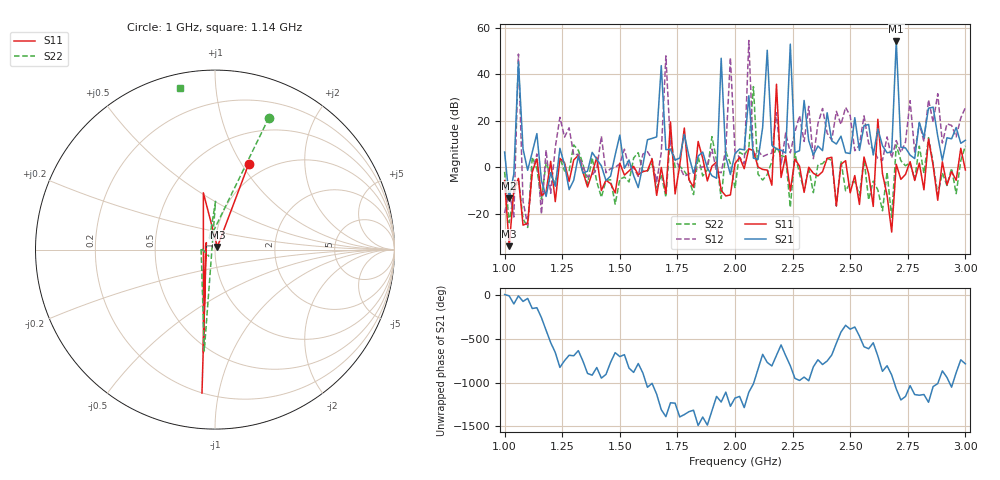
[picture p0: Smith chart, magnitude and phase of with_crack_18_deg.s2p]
# MHz S MA R 50
!  freq  S11  S21  S12  S22
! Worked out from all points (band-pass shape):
!   101 points, 1 GHz to 3 GHz, reference 50 ohm
!   highest |S21| = 54.43 dB at 2.7 GHz (marker M1); lowest = -13.4 dB at 1.02 GHz (marker M2)
!   |S21| within 3 dB of the highest: 2.239322 GHz to 2.24068 GHz (1.358 MHz wide, 0.0606 % of centre); 2.698748 GHz to 2.701309 GHz (2.562 MHz wide, 0.0949 % of centre)
!   lowest |S11| = -34.0 dB at 1.02 GHz (marker M3), VSWR 1.04, Z = 51.3 + j1.53 ohm
!   |S11| at or under -10 dB: 1.065 GHz to 1.113 GHz (47.58 MHz wide, 4.37 % of centre); 1.157 GHz to 1.181 GHz (23.88 MHz wide, 2.04 % of centre); 1.94 GHz to 1.983 GHz (42.89 MHz wide, 2.19 % of centre) (the widest 3 of 18)
!   |S22| runs from -26.0 to 34.7 dB; largest |S21 - S12| = 5.3e+02
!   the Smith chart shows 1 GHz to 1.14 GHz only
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1000  0.5147 68.5  2.121 6.4  0.1036 -174.3  0.794 67.8
1020  0.01993 48.3  0.2146 -8.7  0.3113 0.7  0.0639 120.0
1060  0.5753 -96.4  188.1 -8.9  273.6 -4.5  0.5684 -96.0
1080  0.05653 156.2  2.473 -72.3  0.1858 -99.9  0.07812 173.3
1340  0.7868 118.3  0.7444 -34.0  1.039 -107.3  1.171 148.0
1680  0.9837 91.2  153.9 130.6  2.058 -71.1  0.6939 110.7
1700  0.2706 89.8  2.387 51.2  249.6 60.5  0.2264 113.2
1720  9.441 16.9  2.433 -150.2  2.834 132.4  5.047 43.1
2000  1.197 74.6  1.969 -96.2  2.109 -117.4  0.3525 115.9
2040  0.9303 117.5  2.364 154.5  1.177 77.3  1.811 89.9
2060  2.5 -61.3  34.6 -28.8  536.6 -64.1  2.597 -61.0
2080  2.265 -106.6  1.568 66.0  1.614 58.7  54.45 125.6
2140  0.8681 -70.6  330.3 -49.5  1.878 46.6  0.6955 -52.9
2160  0.4095 152.3  2.977 -89.5  2.001 167.8  1.337 29.1
2220  1.769 113.8  2.021 27.7  5.464 94.0  1.658 -133.9
2240  0.3072 -123.0  447.7 -86.2  2.039 72.1  0.1362 -104.3
2260  1.492 154.0  2.056 129.2  5.747 -52.3  1.998 -152.6
2340  0.7411 104.2  1.833 -100.3  1.525 -149.7  0.2828 41.7
2680  0.04014 -98.5  2.118 168.2  1.577 154.8  0.08352 174.8
2700  1.152 85.9  526.6 7.5  3.742 112.6  3.013 131.2
2720  0.5471 -164.5  2.692 -117.8  2.074 -160.0  1.379 31.4
3000  0.8706 -50.0  3.805 -65.4  19.29 77.7  2.885 -88.4
